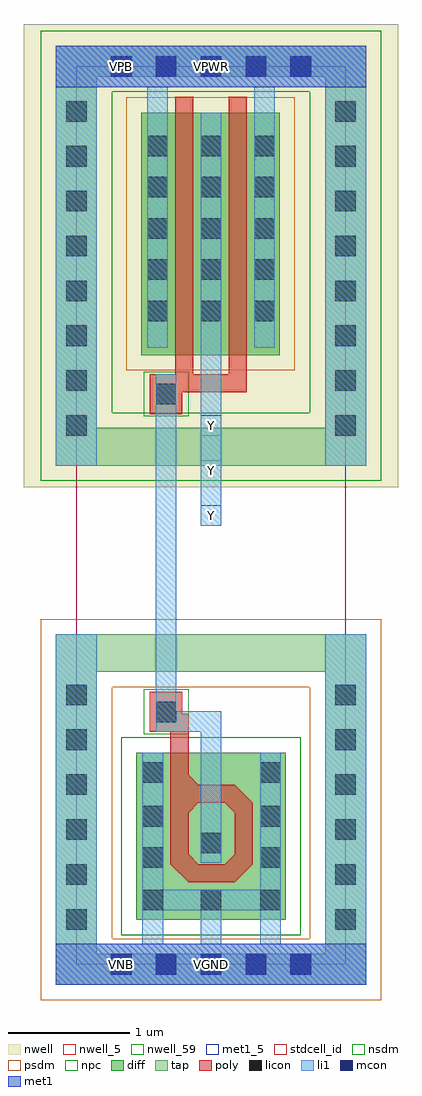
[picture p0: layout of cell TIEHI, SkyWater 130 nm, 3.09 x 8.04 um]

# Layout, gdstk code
from math import pi, radians
import gdstk
lib = gdstk.Library(unit=1e-6, precision=1e-09)
def R(c, l, rs):  # rectangles x0, y0, x1, y1
    for r in rs: c.add(gdstk.rectangle(r[:2], r[2:], *l))
def A(c, l, x, y, w, h, nx, ny, dx, dy):  # array of equal rectangles
    R(c, l, [(x+i*dx, y+j*dy, x+i*dx+w, y+j*dy+h) for i in range(nx) for j in range(ny)])
def P(c, l, *ps):  # polygons
    for p in ps: c.add(gdstk.Polygon(p, *l))
nwell_5 = (64, 5)
nwell = (64, 20)
nwell_59 = (64, 59)
diff = (65, 20)
tap = (65, 44)
poly = (66, 20)
licon = (66, 44)
li1 = (67, 20)
mcon = (67, 44)
met1_5 = (68, 5)
met1 = (68, 20)
stdcell_id = (81, 4)
nsdm = (93, 44)
psdm = (94, 20)
npc = (95, 20)

diff_ring_side = lib.new_cell('diff_ring_side')
R(diff_ring_side, nwell, [(-0.435,3.93,0.435,7.75)])
R(diff_ring_side, tap, [(-0.17,-0.17,0.17,2.72), (-0.17,4.11,0.17,7.57)])
A(diff_ring_side, licon, -0.085, 0.285, 0.17, 0.17, 1, 6, 0, 0.37)
A(diff_ring_side, licon, -0.085, 4.355, 0.17, 0.17, 1, 8, 0, 0.37)
R(diff_ring_side, li1, [(-0.17,-0.17,0.17,2.72), (-0.17,4.11,0.17,7.57)])
R(diff_ring_side, met1, [(-0.17,-0.17,0.17,0.17), (-0.17,7.23,0.17,7.57)])
R(diff_ring_side, nsdm, [(-0.295,3.985,0.295,7.695)])
R(diff_ring_side, psdm, [(-0.295,-0.295,0.295,2.845)])

poly_li1_contact = lib.new_cell('poly_li1_contact')
R(poly_li1_contact, poly, [(-0.16,-0.14,0.17,0.13)])
R(poly_li1_contact, licon, [(-0.08,-0.09,0.09,0.08)])
R(poly_li1_contact, li1, [(-0.16,-0.09,0.17,0.08)])
R(poly_li1_contact, npc, [(-0.18,-0.19,0.19,0.18)])

nmos_top = lib.new_cell('nmos_top')
R(nmos_top, diff, [(0,0,1.23,1.38)])
R(nmos_top, poly, [(0.42,0.31,0.8,0.46), (0.27,0.46,0.42,0.965), (0.8,0.46,0.95,0.965), (0.42,0.965,0.95,1.115), (0.8,1.115,0.95,1.54)])
P(nmos_top, poly, [(0.72,1.115),(0.8,1.115),(0.8,1.195)],
  [(0.27,0.965),(0.42,0.965),(0.42,1.115)],
  [(0.42,0.885),(0.42,0.965),(0.5,0.965)],
  [(0.72,0.965),(0.8,0.965),(0.8,0.885)],
  [(0.42,0.54),(0.42,0.46),(0.5,0.46)],
  [(0.72,0.46),(0.8,0.46),(0.8,0.54)],
  [(0.27,0.46),(0.42,0.46),(0.42,0.31)],
  [(0.8,0.31),(0.8,0.46),(0.95,0.46)])
R(nmos_top, licon, [(0.04,0.08,0.21,0.25), (0.53,0.08,0.7,0.25), (1.01,0.08,1.18,0.25), (0.04,0.43,0.21,0.6), (1.01,0.43,1.18,0.6), (0.53,0.55,0.7,0.72), (0.04,0.77,0.21,0.94), (1.01,0.77,1.18,0.94), (0.04,1.13,0.21,1.3), (1.01,1.13,1.18,1.3)])
R(nmos_top, li1, [(0.04,0,0.21,0.08), (1.01,0,1.18,0.08), (0.04,0.08,1.18,0.25), (0.04,0.25,0.21,1.38), (1.01,0.25,1.18,1.38), (0.53,0.47,0.7,0.805)])
R(nmos_top, nsdm, [(-0.125,-0.125,1.355,1.505)])

pmos2 = lib.new_cell('pmos2')
R(pmos2, nwell, [(0.26,-2.18,1.76,0.18)])
R(pmos2, diff, [(0.44,-2,1.58,0)])
R(pmos2, poly, [(0.72,-2.305,1.31,-2.155), (0.72,-2.155,0.87,0.13), (1.16,-2.155,1.31,0.13)])
A(pmos2, licon, 0.49, -1.38, 0.17, 0.17, 3, 4, 0.44, 0.34)
R(pmos2, li1, [(0.49,-1.465,0.66,0.21), (0.93,-1.465,1.1,0), (1.37,-1.465,1.54,0.21)])
R(pmos2, psdm, [(0.315,-2.125,1.705,0.125)])

tiehi = lib.new_cell('TIEHI')
R(tiehi, nwell_5, [(0.285,7.315,0.455,7.485)])
R(tiehi, nwell, [(0.42,3.93,1.815,7.23), (0.17,7.23,2.05,7.57), (0.42,7.57,1.815,7.645), (0.435,7.645,1.785,7.75)])
R(tiehi, nwell_59, [(0.285,-0.085,0.455,0.085)])
A(tiehi, diff, 0.585, 5.3, 0.17, 0.17, 3, 1, 0.44, 0)
R(tiehi, tap, [(0.17,-0.17,2.05,0.085), (0.17,2.41,2.05,2.72), (0.17,4.11,2.05,4.42), (0.17,7.315,2.05,7.57)])
R(tiehi, poly, [(0.775,1.905,0.925,2.065)])
A(tiehi, licon, 0.285, -0.085, 0.17, 0.17, 5, 2, 0.37, 7.4)
A(tiehi, licon, 0.585, 5.3, 0.17, 0.17, 3, 1, 0.44, 0)
R(tiehi, li1, [(0.17,-0.17,2.05,0.17), (0.545,0.17,0.715,0.365), (1.025,0.17,1.195,0.445), (1.515,0.17,1.685,0.365), (1.025,1.17,1.195,1.915), (0.825,1.915,1.195,2.085), (0.655,2.245,0.825,4.785), (1.025,3.615,1.195,5.555), (0.585,5.08,0.755,5.555), (1.465,5.08,1.635,5.555), (0.17,7.23,2.05,7.57)])
A(tiehi, mcon, 0.285, -0.085, 0.17, 0.17, 5, 2, 0.37, 7.4)
A(tiehi, met1_5, 1.025, 3.615, 0.17, 0.17, 1, 3, 0, 0.37)
R(tiehi, met1_5, [(-0.17,-0.17,2.39,0.17), (-0.17,7.23,2.39,7.57)])
R(tiehi, met1, [(-0.17,-0.17,2.39,0.17), (-0.17,7.23,2.39,7.57)])
R(tiehi, stdcell_id, [(0,0,2.22,7.4)])
R(tiehi, nsdm, [(0,3.985,2.22,4.545), (0,7.19,2.22,7.4), (0.045,7.4,2.175,7.695)])
R(tiehi, psdm, [(0.045,-0.295,2.175,0), (0,0,2.22,0.21), (0,2.285,2.22,2.845), (0.46,5.175,1.76,5.595)])
tiehi.add(gdstk.Reference(diff_ring_side, (2.22,0)))
tiehi.add(gdstk.Reference(diff_ring_side, (0,0)))
tiehi.add(gdstk.Reference(poly_li1_contact, (0.745,2.085), rotation=3*pi/2))
tiehi.add(gdstk.Reference(nmos_top, (1.725,0.365), rotation=pi, x_reflection=True))
tiehi.add(gdstk.Reference(poly_li1_contact, (0.745,4.705), rotation=3*pi/2))
tiehi.add(gdstk.Reference(pmos2, (0.095,7.02)))
tiehi.add(gdstk.Label('Y', (1.11,3.7), layer=68, texttype=5))
tiehi.add(gdstk.Label('Y', (1.11,4.07), layer=68, texttype=5))
tiehi.add(gdstk.Label('Y', (1.11,4.44), layer=68, texttype=5))
tiehi.add(gdstk.Label('VPWR', (1.11,7.4), layer=68, texttype=5))
tiehi.add(gdstk.Label('VGND', (1.11,0), layer=68, texttype=5))
tiehi.add(gdstk.Label('VPB', (0.37,7.4), layer=64, texttype=5))
tiehi.add(gdstk.Label('VNB', (0.37,0), layer=64, texttype=59))

lib.write_gds('TIEHI.gds')
